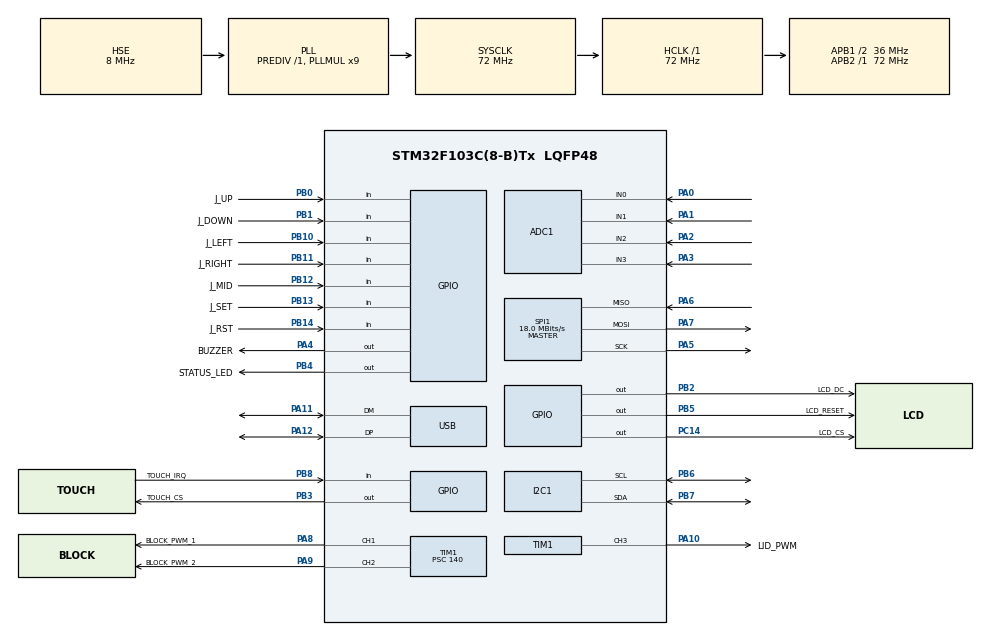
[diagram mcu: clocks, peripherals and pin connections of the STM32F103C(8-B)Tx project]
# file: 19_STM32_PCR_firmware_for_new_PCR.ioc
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Mcu.Family=STM32F1
PA6.Mode=Full_Duplex_Master
Dma.SPI1_TX.0.MemInc=DMA_MINC_ENABLE
Dma.SPI1_TX.0.PeriphInc=DMA_PINC_DISABLE
SPI1.VirtualType=VM_MASTER
PB10.GPIO_PuPd=GPIO_PULLDOWN
ADC1.ContinuousConvMode=ENABLE
SH.ADCx_IN2.0=ADC1_IN2,IN2
PB14.GPIO_Label=J_RST
PA11.Mode=Device
PB0.GPIO_Label=J_UP
TIM1.Pulse-PWM\ Generation1\ CH1=500
PB11.GPIO_PuPd=GPIO_PULLDOWN
PB13.GPIO_Label=J_SET
PB11.Signal=GPIO_Input
PB13.Signal=GPIO_Input
RCC.SYSCLKSource=RCC_SYSCLKSOURCE_PLLCLK
ProjectManager.StackSize=0x400
PD1-OSC_OUT.Signal=RCC_OSC_OUT
NVIC.DMA1_Channel3_IRQn=true\:0\:0\:false\:false\:true\:false\:true
PA12.Signal=USB_DP
TIM1.Prescaler=140
PB3.PinState=GPIO_PIN_SET
ADC1.Channel-3\#ChannelRegularConversion=ADC_CHANNEL_3
SPI1.Direction=SPI_DIRECTION_2LINES
PB1.GPIO_PuPd=GPIO_PULLDOWN
RCC.HCLKFreq_Value=72000000
SH.ADCx_IN3.0=ADC1_IN3,IN3
RCC.APB2TimFreq_Value=72000000
PB6.Signal=I2C1_SCL
ADC1.Channel-2\#ChannelRegularConversion=ADC_CHANNEL_2
PB6.Mode=I2C
SPI1.CalculateBaudRate=18.0 MBits/s
RCC.AHBFreq_Value=72000000
ADC1.Channel-0\#ChannelRegularConversion=ADC_CHANNEL_0
PB2.Signal=GPIO_Output
RCC.PLLMUL=RCC_PLL_MUL9
PB12.GPIO_Label=J_MID
ADC1.Rank-2\#ChannelRegularConversion=3
TIM1.Channel-PWM\ Generation1\ CH1=TIM_CHANNEL_1
PA14.Mode=Serial_Wire
PB1.GPIO_Label=J_DOWN
NVIC.TIM2_IRQn=true\:0\:0\:false\:false\:true\:true\:true
PA10.GPIO_Label=LID_PWM
PB7.Signal=I2C1_SDA
PA8.Signal=S_TIM1_CH1
SH.ADCx_IN0.0=ADC1_IN0,IN0
ADC1.SamplingTime-0\#ChannelRegularConversion=ADC_SAMPLETIME_1CYCLE_5
Dma.SPI1_TX.0.Mode=DMA_NORMAL
Mcu.Package=LQFP48
TIM2.Prescaler=32000
PB14.GPIO_PuPd=GPIO_PULLDOWN
PB1.Signal=GPIO_Input
PA6.Signal=SPI1_MISO
TIM1.Pulse-PWM\ Generation2\ CH2=500
PA10.Signal=S_TIM1_CH3
SH.ADCx_IN1.0=ADC1_IN1,IN1
PB5.GPIO_Label=LCD_RESET
RCC.APB1TimFreq_Value=72000000
PC14-OSC32_IN.GPIO_Label=LCD_CS
TIM1.Period=1000
Dma.Request0=SPI1_TX
SPI1.BaudRatePrescaler=SPI_BAUDRATEPRESCALER_4
PB4.PinState=GPIO_PIN_SET
PA4.GPIO_Label=BUZZER
PB4.Signal=GPIO_Output
PA3.Signal=ADCx_IN3
PA5.Mode=Full_Duplex_Master
PB3.GPIO_Label=TOUCH_CS
RCC.PLLSourceVirtual=RCC_PLLSOURCE_HSE
ADC1.Rank-0\#ChannelRegularConversion=1
PA7.Mode=Full_Duplex_Master
PD1-OSC_OUT.Mode=HSE-External-Oscillator
PA9.GPIO_Label=BLOCK_PWM_2
PB11.GPIO_Label=J_RIGHT
RCC.USBPrescaler=RCC_USBCLKSOURCE_PLL_DIV1_5
PD0-OSC_IN.Signal=RCC_OSC_IN
RCC.APB1CLKDivider=RCC_HCLK_DIV2
PC14-OSC32_IN.Signal=GPIO_Output
ADC1.SamplingTime-2\#ChannelRegularConversion=ADC_SAMPLETIME_1CYCLE_5
PA0-WKUP.Signal=ADCx_IN0
RCC.ADCPresc=RCC_ADCPCLK2_DIV6
PA13.Signal=SYS_JTMS-SWDIO
PB8.GPIO_Label=TOUCH_IRQ
PA8.GPIO_Label=BLOCK_PWM_1
SH.S_TIM1_CH1.0=TIM1_CH1,PWM Generation1 CH1
ProjectManager.TargetToolchain=STM32CubeIDE
PB10.GPIO_Label=J_LEFT
I2C1.I2C_Mode=I2C_Fast
Dma.SPI1_TX.0.PeriphDataAlignment=DMA_PDATAALIGN_BYTE
Dma.SPI1_TX.0.Direction=DMA_MEMORY_TO_PERIPH
PA9.Signal=S_TIM1_CH2
ADC1.Channel-1\#ChannelRegularConversion=ADC_CHANNEL_1
TIM1.Channel-PWM\ Generation2\ CH2=TIM_CHANNEL_2
RCC.USBFreq_Value=48000000
PA1.Signal=ADCx_IN1
PD0-OSC_IN.Mode=HSE-External-Oscillator
PB10.Signal=GPIO_Input
PB14.Signal=GPIO_Input
PA5.Signal=SPI1_SCK
board=custom
PB13.GPIO_PuPd=GPIO_PULLDOWN
PB4.GPIO_Speed=GPIO_SPEED_FREQ_LOW
RCC.APB2Freq_Value=72000000
PB4.GPIO_Label=STATUS_LED
SH.S_TIM1_CH2.0=TIM1_CH2,PWM Generation2 CH2
VP_TIM2_VS_ClockSourceINT.Mode=Internal
SPI1.Mode=SPI_MODE_MASTER
Dma.SPI1_TX.0.Instance=DMA1_Channel3
TIM2.Period=2250
ADC1.NbrOfConversion=4
PA13.Mode=Serial_Wire
Mcu.Name=STM32F103C(8-B)Tx
PA2.Signal=ADCx_IN2
PB3.Signal=GPIO_Output
PA4.Signal=GPIO_Output
ADC1.SamplingTime-1\#ChannelRegularConversion=ADC_SAMPLETIME_1CYCLE_5
RCC.SYSCLKFreq_VALUE=72000000
PB5.Signal=GPIO_Output
ADC1.master=1
PA12.Mode=Device
ADC1.Rank-3\#ChannelRegularConversion=4
ADC1.SamplingTime-3\#ChannelRegularConversion=ADC_SAMPLETIME_1CYCLE_5
ADC1.Rank-1\#ChannelRegularConversion=2
PB7.Mode=I2C
PA11.Signal=USB_DM
PA14.Signal=SYS_JTCK-SWCLK
PB2.GPIO_Label=LCD_DC
ProjectManager.HeapSize=0x200
Dma.SPI1_TX.0.MemDataAlignment=DMA_MDATAALIGN_BYTE
Dma.SPI1_TX.0.Priority=DMA_PRIORITY_LOW
SH.S_TIM1_CH3.0=TIM1_CH3,PWM Generation3 CH3
NVIC.PriorityGroup=NVIC_PRIORITYGROUP_4
ADC1.NbrOfConversionFlag=1
PB8.Signal=GPIO_Input
TIM1.Channel-PWM\ Generation3\ CH3=TIM_CHANNEL_3
PB12.GPIO_PuPd=GPIO_PULLDOWN
RCC.APB1Freq_Value=36000000
PB0.Signal=GPIO_Input
PB12.Signal=GPIO_Input
PB0.GPIO_PuPd=GPIO_PULLDOWN
PA7.Signal=SPI1_MOSI

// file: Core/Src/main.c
/* USER CODE BEGIN Header */
/**
  ******************************************************************************
  * @file           : main.c
  * @brief          : Main program body
  ******************************************************************************
  * @attention
  *
  * <h2><center>&copy; Copyright (c) 2021 STMicroelectronics.
  * All rights reserved.</center></h2>
  *
  * This software component is licensed by ST under BSD 3-Clause license,
  * the "License"; You may not use this file except in compliance with the
  * License. You may obtain a copy of the License at:
  *                        opensource.org/licenses/BSD-3-Clause
  *
  ******************************************************************************
  */
/* USER CODE END Header */
#include "main.h"

/* USER CODE BEGIN Includes */
#pragma GCC push_options    /*It turns on certain optimization flags for GCC*/
#pragma GCC optimize ("Os")

#include "fonts.h"
#include "ssd1306.h"
#include "test.h"
#include "math.h"
#include "OLED_GUI.h"
#include "5D_joystick.h"
#include "thermister_10k.h"
#include "thermocycler.h"
#include "PID.h"
#include "thermistor.h"
#pragma GCC pop_options

#include "ILI9341_STM32_Driver.h"
#include "ILI9341_GFX.h"
/* USER CODE END Includes */

/* USER CODE BEGIN PM */
#define BLOCK_DUTY_HIGHEST        100
#define BLOCK_HIGHEST_TEMP_DIFF   20
#define BLOCK_PID_P               (float)((float)BLOCK_DUTY_HIGHEST/(float)BLOCK_HIGHEST_TEMP_DIFF)
#define ABS(x)                    ((x) > 0? (x) :-(x) )
#define BLOCK_TEMPERATURE_PIN     ADC_CHANNEL_1
#define LID_TEMPERATURE_PIN       ADC_CHANNEL_0
#define EXTRA_TEMPERATURE_PIN_1     ADC_CHANNEL_2
#define EXTRA_TEMPERATURE_PIN_2    ADC_CHANNEL_3

/* Controller parameters */
/*
#define PID_KP  0.0f
#define PID_KI  0.0f      //0.5f
#define PID_KD  0.0f      //0.25f
*/

#define LID_PID_KP       		40.0f
#define LID_PID_KI       		1.3333f      //0.5f
#define LID_PID_KD       		300.0f       //0.25f
#define LID_PID_TAU      		0.02f	     //36
#define LID_PID_LIM_MIN  		0.0f
#define LID_PID_LIM_MAX  		100.0f
#define LID_PID_LIM_MIN_INT  	0.0f
#define LID_PID_LIM_MAX_INT  	500.0f
#define LID_SAMPLE_TIME_S 		0.1f
#define LID_PID_BETA 		        0.0f

#define LID_PWM_MAX  		999.0f

#define PELTIER_PID_KP   		  5.0f //40
#define PELTIER_PID_KI   		  0.0f      //0.5f
#define PELTIER_PID_KD   		  0.0f      //0.25f
#define PELTIER_PID_TAU 		  15.0f
#define PELTIER_PID_LIM_MAX  	  999
#define PELTIER_PID_LIM_MIN  	  (-999)
#define PELTIER_PID_LIM_MIN_INT   (-450)
#define PELTIER_PID_LIM_MAX_INT   (450)
#define PELTIER_SAMPLE_TIME_S 	  0.1f
#define PELTIER_PID_BETA 	       0.0f
#define PELTIER_NO_OF_SAMPLES_AVG  5

/*
 *
#define PCR1

#ifdef PCR1

Defines for PCR 1

#endif /* PCR1*/

/*
#ifdef PCR2

Defines for PCR 2

#endif /* PCR2*/

//PCR1
#define BLOCK_THERMISTOR_R0			(float)10261//11194//10698//9750
#define BLOCK_THERMISTOR_RS			(float)998//990
#define BLOCK_THERMISTOR_ADC        &hadc1
#define BLOCK_THERMISTOR_CHANNEL    ADC_CHANNEL_1
#define BLOCK_THERMISTOR_BETA       (float)4047//3609//3495//3182

#define EXTRA_1_THERMISTOR_R0		  (float)5097
#define EXTRA_1_THERMISTOR_RS		  (float)975.0
#define EXTRA_1_THERMISTOR_ADC        &hadc1
#define EXTRA_1_THERMISTOR_CHANNEL    ADC_CHANNEL_2
#define EXTRA_1_THERMISTOR_BETA       (float)3838

#define EXTRA_2_THERMISTOR_R0		  (float)5097
#define EXTRA_2_THERMISTOR_RS		  (float)977.0
#define EXTRA_2_THERMISTOR_ADC        &hadc1
#define EXTRA_2_THERMISTOR_CHANNEL    ADC_CHANNEL_3
#define EXTRA_2_THERMISTOR_BETA       (float)3838

/* USER CODE END PM */

ADC_HandleTypeDef hadc1;

I2C_HandleTypeDef hi2c1;

SPI_HandleTypeDef hspi1;
DMA_HandleTypeDef hdma_spi1_tx;

TIM_HandleTypeDef htim1;
TIM_HandleTypeDef htim2;

PCD_HandleTypeDef hpcd_USB_FS;

/* USER CODE BEGIN PV */

char num_string[10];
float block_cur_temp,IIR_block_cur_temp,block_cur_error,block_pre_out;
float block_set_temp = 35;
int block_PWM ;
volatile uint8_t OLED_lock = 0;
uint8_t joystick_out;
PCR_settings_t* PCR_settings;
float set_point;
parameter* annealing_temp;
float lid_cur_temp,Lid_setpoint = 100;
int lid_pwm_count;

float dummy_p,dummy_I,dummy_D,Peltier_PWM_beta;
float PELTIER_PID_WINDOW = 2.0f;
float PELTIER_PID_SMALL_WINDOW = 2.0f;
float PELTIER_TEMP_IIR_ALFA  =    0.9;
float extra_temperature_2      = 0;
float extra_temperature_1      = 0;
uint8_t peltier_PID_state = 0;
int16_t x_pos;
int16_t y_pos;
volatile uint8_t update_live = 0;

int current_PWM = 0;

/* USER CODE END PV */

void SystemClock_Config(void);
static void MX_GPIO_Init(void);
static void MX_DMA_Init(void);
static void MX_TIM1_Init(void);
static void MX_ADC1_Init(void);
static void MX_I2C1_Init(void);
static void MX_TIM2_Init(void);
static void MX_SPI1_Init(void);
static void MX_USB_PCD_Init(void);
/* USER CODE BEGIN PFP */

//float get_heat_block_temperature_LM35_A0(void);
//float get_heat_block_temperature_10k_thermistor_A1(void);
void Display_temperature(float num);
/* USER CODE END PFP */

int main(void)
{

  /* MCU Configuration--------------------------------------------------------*/

  /* Reset of all peripherals, Initializes the Flash interface and the Systick. */
  HAL_Init();

  /* Configure the system clock */
  SystemClock_Config();

  /* Initialize all configured peripherals */
  MX_GPIO_Init();
  MX_DMA_Init();
  MX_TIM1_Init();
  MX_ADC1_Init();
  MX_I2C1_Init();
  MX_TIM2_Init();
  MX_SPI1_Init();
  MX_USB_PCD_Init();
  /* USER CODE BEGIN 2 */

  ILI9341_Init();
  ILI9341_FillScreen(BLACK);
  ILI9341_SetRotation(SCREEN_HORIZONTAL_2);
  //ILI9341_DrawText("HELLO WORLD", FONT4, 0, 200, YELLOW, BLACK);
  //ILI9341_DrawPixel(160,120,RED);

  float temp =0.5;
  float pre_block_cur_temp;

  HAL_Delay(100);
  //SSD1306_Init();  // initialise

  TIM1->CCR1 = 0;
  TIM1->CCR2 = 0;

  Device_start_buzzer();
  display_big_message("WELPCR", "----tagline----",big_font,2);
  //OLED_PCR_config_GUI_init();

  /*SSD1306_GotoXY (0,0);
  SSD1306_Puts ("WELPCR", &Font_11x18, 1);
  SSD1306_UpdateScreen(); //display*/
  //HAL_Delay(1000);
  //SSD1306_Clear();
  get_PCR_settings(&PCR_settings);
  annealing_temp = (*PCR_settings).annealing_temp;

  block_cur_temp = get_thermister_temp(&hadc1, BLOCK_TEMPERATURE_PIN);

  //start_thermocycler();

  PIDController LID_pid = { LID_PID_KP, LID_PID_KI, LID_PID_KD,
	                    LID_PID_TAU,
	                    LID_PID_LIM_MIN, LID_PID_LIM_MAX,
	                    LID_PID_LIM_MIN_INT,
	                    LID_PID_LIM_MAX_INT,
	                    LID_SAMPLE_TIME_S,
						LID_PID_BETA
  	  	  	  	  	  };

   PIDController_Init(&LID_pid);

   PIDController peltier_pid = { PELTIER_PID_KP, PELTIER_PID_KI, PELTIER_PID_KD,
		   	   	   	    PELTIER_PID_TAU,
						PELTIER_PID_LIM_MIN, PELTIER_PID_LIM_MAX,
						PELTIER_PID_LIM_MIN_INT,
						PELTIER_PID_LIM_MAX_INT,
						PELTIER_SAMPLE_TIME_S,
						PELTIER_PID_BETA
   	  	  	  	  	  };

    PIDController_Init(&peltier_pid);

    thermistor_t block_thermistor ={
       					BLOCK_THERMISTOR_R0,
   						BLOCK_THERMISTOR_RS,
   						BLOCK_THERMISTOR_BETA,
   						BLOCK_THERMISTOR_ADC,
   						BLOCK_THERMISTOR_CHANNEL
       					};

    thermistor_t EXTRA_thermistor_1 ={
       						EXTRA_1_THERMISTOR_R0,
   							EXTRA_1_THERMISTOR_RS,
   							EXTRA_1_THERMISTOR_BETA,
   							EXTRA_1_THERMISTOR_ADC,
   							EXTRA_1_THERMISTOR_CHANNEL
           					};

     thermistor_t EXTRA_thermistor_2 ={
       		                EXTRA_2_THERMISTOR_R0,
   							EXTRA_2_THERMISTOR_RS,
   							EXTRA_2_THERMISTOR_BETA,
   							EXTRA_2_THERMISTOR_ADC,
   							EXTRA_2_THERMISTOR_CHANNEL
           					};

     thermistor_t LID_thermistor ={
               					BLOCK_THERMISTOR_R0,
           						BLOCK_THERMISTOR_RS,
           						BLOCK_THERMISTOR_BETA,
           						BLOCK_THERMISTOR_ADC,
   								LID_TEMPERATURE_PIN
               					};

   TIM1->CCR3 =lid_pwm_count;

   HAL_TIM_PWM_Start(&htim1, TIM_CHANNEL_3);

  HAL_TIM_Base_Start_IT(&htim2);

  /* USER CODE END 2 */

  /* Infinite loop */
  while (1)
  {

    /* USER CODE BEGIN 3 */

	  /*-------------Extra temperature------------*/

	  get_thermistor_temp_(&EXTRA_thermistor_1);
	   extra_temperature_1 =EXTRA_thermistor_1.temperature;
	  get_thermistor_temp_(&EXTRA_thermistor_2);
	  extra_temperature_2 =EXTRA_thermistor_2.temperature;

	//----------------------------------------------------------

	  update_GUI();

	  check_touch();

	  /*---calulate temperature and add IIR filter*/
	  //pre_block_cur_temp = block_cur_temp;
	  float avg_block_cur_temp_1 = 10;
	  float avg_block_cur_temp_2 = 0;
	  float small_window_kp;
	  while (ABS(avg_block_cur_temp_1 - avg_block_cur_temp_2) > 0.5)
	  {
		  avg_block_cur_temp_1 = 0;
		  avg_block_cur_temp_2 = 0;
		  for (int i=0; i< PELTIER_NO_OF_SAMPLES_AVG; i++)
		  	  {
			  	  	  get_thermistor_temp_(&block_thermistor);
			  		  avg_block_cur_temp_1 +=  block_thermistor.temperature/ PELTIER_NO_OF_SAMPLES_AVG;
		  	  }
		  for (int i=0; i< PELTIER_NO_OF_SAMPLES_AVG; i++)
		  	  {
			  	  	  get_thermistor_temp_(&block_thermistor);
			  		  avg_block_cur_temp_2 += block_thermistor.temperature/ PELTIER_NO_OF_SAMPLES_AVG;
		  	  }

	  }

	/*  if(ABS(pre_block_cur_temp- avg_block_cur_temp) >0)
	  {

		  block_cur_temp = pre_block_cur_temp;
	  }
	  else
	  {
		  block_cur_temp =avg_block_cur_temp;
	  }
*/
	  block_cur_temp =avg_block_cur_temp_1;
	  IIR_block_cur_temp = (1- PELTIER_TEMP_IIR_ALFA)* block_cur_temp + PELTIER_TEMP_IIR_ALFA*IIR_block_cur_temp;

	  if(update_live)
	  {
		  update_live_par();
		  update_live=0;
	  }

	  /*--------------------------------------------*/

	       get_thermistor_temp_(&LID_thermistor);
	  	  lid_cur_temp   =  LID_thermistor.temperature;
	  	  block_cur_error    = block_set_temp -  IIR_block_cur_temp;

	  set_point = get_block_set_point();
	  block_set_temp = set_point;         // Comment this line to set temp manually

	  if(Lid_setpoint-lid_cur_temp < 40 && Lid_setpoint-lid_cur_temp > 35)
	  	  {
	  		  //PIDController_Update(&LID_pid, Lid_setpoint, lid_cur_temp);

		      TIM1->CCR3    = 0;
		      lid_pwm_count = 0;
	  	  }

	  else if(Lid_setpoint-lid_cur_temp > 2)
	  {
		  //PIDController_Update(&LID_pid, Lid_setpoint, lid_cur_temp);

		  TIM1->CCR3 =LID_PWM_MAX;
		  lid_pwm_count =LID_PWM_MAX;
	  }
	  else

	  {
		  TIM1->CCR3    = 0;
		  lid_pwm_count = 0;
	  }

	  /************************Peltier PID*******************************************/
/*
	  TIM1->CCR1 = block_PWM;
	  TIM1->CCR2 = block_PWM;
	  HAL_TIM_PWM_Start(&htim1, TIM_CHANNEL_2);
	  HAL_TIM_PWM_Stop(&htim1, TIM_CHANNEL_1);

*/

	  if(block_set_temp < 65)
	  {
		  Peltier_PWM_beta = 8.2 * block_set_temp - 300;//282;//276; //9.6959 * block_set_temp - 252.48;
	  	  PELTIER_PID_WINDOW = 10;
	  	  peltier_pid.Kp = 75;
	  	  peltier_pid.Ki = 0;
	  	  peltier_pid.Kd = 0;//150
	  	  PELTIER_PID_SMALL_WINDOW = 3;
	  	  small_window_kp = 50;
	  }
	  else if(block_set_temp < 85)
	  {
		  Peltier_PWM_beta = 8.4522 * block_set_temp - 292;//11.285 * block_set_temp - 366.95;// 11.285 366.95
		  PELTIER_PID_WINDOW = 10;
		  peltier_pid.Kp = 10;
		  peltier_pid.Ki = 0;
		  peltier_pid.Kd = 200;//200;
		  PELTIER_PID_SMALL_WINDOW = 0.5;
		  small_window_kp = 75;
	  }
	  else if(block_set_temp < 150)
	  {
	  	  Peltier_PWM_beta = 9.1637 * block_set_temp - 345;
	  	  PELTIER_PID_WINDOW = 3;
	  	  peltier_pid.Kp = 15;
	  	  peltier_pid.Ki = 2;//2
	  	  peltier_pid.Kd =100;// 125;//125;
	  	  PELTIER_PID_SMALL_WINDOW = 0.5;
	  	  small_window_kp = 100;//100;
	  }

	 if(ABS(block_set_temp - IIR_block_cur_temp) <  PELTIER_PID_WINDOW)
	  	  {

		 	 if (ABS(block_set_temp - IIR_block_cur_temp) <  PELTIER_PID_WINDOW)
		 	 {
		 		peltier_pid.Kp = small_window_kp;
		 	 }

		      if (peltier_PID_state != 3 )
		     		  {
		     			  HAL_TIM_PWM_Stop(&htim1, TIM_CHANNEL_2);
		     			  HAL_TIM_PWM_Stop(&htim1, TIM_CHANNEL_1);
		     			  HAL_Delay(100);
		     			 peltier_PID_state = 3;
		     		  }

		  	  peltier_pid.beta = Peltier_PWM_beta;
			  PIDController_Update(&peltier_pid, block_set_temp, IIR_block_cur_temp);
			  dummy_p = peltier_pid.proportional_;
			  dummy_I = peltier_pid.integrator;
			  dummy_D = peltier_pid.differentiator;

			  if ( (block_pre_out>0 && peltier_pid.out < 0) || (block_pre_out<0 && peltier_pid.out > 0) )
			  {
				  HAL_TIM_PWM_Stop(&htim1, TIM_CHANNEL_2);
				  HAL_TIM_PWM_Stop(&htim1, TIM_CHANNEL_1);
				  HAL_Delay(5);
			  }

		  	  //block_PWM = (int) peltier_pid.out;
			   block_PWM = 0.8*(int) peltier_pid.out + 0.2 * block_PWM;
			  if (peltier_pid.out > 0)
			  {
				  TIM1->CCR1 = ABS(peltier_pid.out);
				  TIM1->CCR2 = ABS(peltier_pid.out);
				  HAL_TIM_PWM_Start(&htim1, TIM_CHANNEL_2);
				  HAL_TIM_PWM_Stop(&htim1, TIM_CHANNEL_1);
			  }
			  else if (peltier_pid.out < 0)
			  {
				  TIM1->CCR1 = ABS(peltier_pid.out);
				  TIM1->CCR2 = ABS(peltier_pid.out);
				  HAL_TIM_PWM_Stop(&htim1, TIM_CHANNEL_2);
				  HAL_TIM_PWM_Start(&htim1, TIM_CHANNEL_1);
			  }

			  block_pre_out =peltier_pid.out;
			  current_PWM = peltier_pid.out;

	  	  }
	  else if((block_set_temp-IIR_block_cur_temp) > PELTIER_PID_WINDOW)
	  {

		  if (peltier_PID_state != 1 )
		  {
			  HAL_TIM_PWM_Stop(&htim1, TIM_CHANNEL_2);
			  HAL_TIM_PWM_Stop(&htim1, TIM_CHANNEL_1);
			  HAL_Delay(100);
			  peltier_PID_state = 1;
		  }

		  if (current_PWM < PELTIER_PID_LIM_MAX)
		  {
			  current_PWM = current_PWM+50;
			  if(current_PWM > PELTIER_PID_LIM_MAX)
			  {
				  current_PWM = PELTIER_PID_LIM_MAX;
			  }
		  }

		  TIM1->CCR1 = current_PWM;
		  TIM1->CCR2 = current_PWM;

		  if(current_PWM> 0)
		  {
			  HAL_TIM_PWM_Start(&htim1, TIM_CHANNEL_2);
			  HAL_TIM_PWM_Stop(&htim1,  TIM_CHANNEL_1);
		  }
		  else
		  {
			  HAL_TIM_PWM_Stop (&htim1,  TIM_CHANNEL_2);
			  HAL_TIM_PWM_Start(&htim1,  TIM_CHANNEL_1);

		  }
		  PIDController_Init(&peltier_pid);

		  block_PWM = current_PWM; //(int) PELTIER_PID_LIM_MAX;
		  //block_PWM = 0.5*(int) PELTIER_PID_LIM_MAX + 0.5 * block_PWM;
	  }
	  else if((block_set_temp-IIR_block_cur_temp)< (-PELTIER_PID_WINDOW))
	  	  {
		  /*if (peltier_PID_state != 2 )
		  		  {
		  			  HAL_TIM_PWM_Stop(&htim1, TIM_CHANNEL_2);
		  			  HAL_TIM_PWM_Stop(&htim1, TIM_CHANNEL_1);
		  			  HAL_Delay(100);
		  			  peltier_PID_state = 2;
		  		  }
          */
		  if (current_PWM > PELTIER_PID_LIM_MIN)
		  		  {
		  			  current_PWM = current_PWM-50;
		  			  if(current_PWM < PELTIER_PID_LIM_MIN)
		  			  {
		  				  current_PWM = PELTIER_PID_LIM_MIN;
		  			  }
		  		  }

	  		  TIM1->CCR1 = ABS(current_PWM);//ABS(PELTIER_PID_LIM_MIN);
	  		  TIM1->CCR2 = ABS(current_PWM);//ABS(PELTIER_PID_LIM_MIN);

	  		if(current_PWM> 0)
	  				  {
	  					  HAL_TIM_PWM_Start(&htim1, TIM_CHANNEL_2);
	  					  HAL_TIM_PWM_Stop(&htim1,  TIM_CHANNEL_1);
	  				  }
	  				  else
	  				  {
	  					  HAL_TIM_PWM_Stop (&htim1,  TIM_CHANNEL_2);
	  					  HAL_TIM_PWM_Start(&htim1,  TIM_CHANNEL_1);

	  				  }

	  		  PIDController_Init(&peltier_pid);

	  		  block_PWM = current_PWM; //(int) PELTIER_PID_LIM_MIN;
	  		//block_PWM = 0.5*(int) PELTIER_PID_LIM_MIN + 0.5 * block_PWM;
	  	  }
	  else
	  {
		  HAL_TIM_PWM_Stop(&htim1, TIM_CHANNEL_2);
		  HAL_TIM_PWM_Stop(&htim1, TIM_CHANNEL_1);

		  PIDController_Init(&peltier_pid);

		  block_PWM = 0;
		  //block_PWM =  0.5 * block_PWM;

	  }

	  HAL_Delay(100);

/*
	  HAL_TIM_PWM_Stop(&htim1, TIM_CHANNEL_1);
	  HAL_TIM_PWM_Stop(&htim1, TIM_CHANNEL_2);
	  HAL_Delay(100);*/
/*
	  HAL_TIM_PWM_Start(&htim1, TIM_CHANNEL_1);
	  HAL_TIM_PWM_Stop(&htim1, TIM_CHANNEL_2);
	  HAL_Delay(6000);*/

  }
  /* USER CODE END 3 */
}

void SystemClock_Config(void)
{
  RCC_OscInitTypeDef RCC_OscInitStruct = {0};
  RCC_ClkInitTypeDef RCC_ClkInitStruct = {0};
  RCC_PeriphCLKInitTypeDef PeriphClkInit = {0};

  /** Initializes the RCC Oscillators according to the specified parameters
  * in the RCC_OscInitTypeDef structure.
  */
  RCC_OscInitStruct.OscillatorType = RCC_OSCILLATORTYPE_HSE;
  RCC_OscInitStruct.HSEState = RCC_HSE_ON;
  RCC_OscInitStruct.HSEPredivValue = RCC_HSE_PREDIV_DIV1;
  RCC_OscInitStruct.HSIState = RCC_HSI_ON;
  RCC_OscInitStruct.PLL.PLLState = RCC_PLL_ON;
  RCC_OscInitStruct.PLL.PLLSource = RCC_PLLSOURCE_HSE;
  RCC_OscInitStruct.PLL.PLLMUL = RCC_PLL_MUL9;
  if (HAL_RCC_OscConfig(&RCC_OscInitStruct) != HAL_OK)
  {
    Error_Handler();
  }
  /** Initializes the CPU, AHB and APB buses clocks
  */
  RCC_ClkInitStruct.ClockType = RCC_CLOCKTYPE_HCLK|RCC_CLOCKTYPE_SYSCLK
                              |RCC_CLOCKTYPE_PCLK1|RCC_CLOCKTYPE_PCLK2;
  RCC_ClkInitStruct.SYSCLKSource = RCC_SYSCLKSOURCE_PLLCLK;
  RCC_ClkInitStruct.AHBCLKDivider = RCC_SYSCLK_DIV1;
  RCC_ClkInitStruct.APB1CLKDivider = RCC_HCLK_DIV2;
  RCC_ClkInitStruct.APB2CLKDivider = RCC_HCLK_DIV1;

  if (HAL_RCC_ClockConfig(&RCC_ClkInitStruct, FLASH_LATENCY_2) != HAL_OK)
  {
    Error_Handler();
  }
  PeriphClkInit.PeriphClockSelection = RCC_PERIPHCLK_ADC|RCC_PERIPHCLK_USB;
  PeriphClkInit.AdcClockSelection = RCC_ADCPCLK2_DIV6;
  PeriphClkInit.UsbClockSelection = RCC_USBCLKSOURCE_PLL_DIV1_5;
  if (HAL_RCCEx_PeriphCLKConfig(&PeriphClkInit) != HAL_OK)
  {
    Error_Handler();
  }
}

static void MX_ADC1_Init(void)
{

  ADC_ChannelConfTypeDef sConfig = {0};

  /** Common config
  */
  hadc1.Instance = ADC1;
  hadc1.Init.ScanConvMode = ADC_SCAN_ENABLE;
  hadc1.Init.ContinuousConvMode = ENABLE;
  hadc1.Init.DiscontinuousConvMode = DISABLE;
  hadc1.Init.ExternalTrigConv = ADC_SOFTWARE_START;
  hadc1.Init.DataAlign = ADC_DATAALIGN_RIGHT;
  hadc1.Init.NbrOfConversion = 1;
  if (HAL_ADC_Init(&hadc1) != HAL_OK)
  {
    Error_Handler();
  }
  /** Configure Regular Channel
  */
  sConfig.Channel = ADC_CHANNEL_0;
  sConfig.Rank = ADC_REGULAR_RANK_1;
  sConfig.SamplingTime = ADC_SAMPLETIME_1CYCLE_5;
  if (HAL_ADC_ConfigChannel(&hadc1, &sConfig) != HAL_OK)
  {
    Error_Handler();
  }
  /** Configure Regular Channel
  */
  sConfig.Channel = ADC_CHANNEL_1;
  sConfig.Rank = ADC_REGULAR_RANK_2;
  if (HAL_ADC_ConfigChannel(&hadc1, &sConfig) != HAL_OK)
  {
    Error_Handler();
  }
  /** Configure Regular Channel
  */
  sConfig.Channel = ADC_CHANNEL_2;
  sConfig.Rank = ADC_REGULAR_RANK_3;
  if (HAL_ADC_ConfigChannel(&hadc1, &sConfig) != HAL_OK)
  {
    Error_Handler();
  }
  /** Configure Regular Channel
  */
  sConfig.Channel = ADC_CHANNEL_3;
  sConfig.Rank = ADC_REGULAR_RANK_4;
  if (HAL_ADC_ConfigChannel(&hadc1, &sConfig) != HAL_OK)
  {
    Error_Handler();
  }

}

static void MX_I2C1_Init(void)
{

  hi2c1.Instance = I2C1;
  hi2c1.Init.ClockSpeed = 400000;
  hi2c1.Init.DutyCycle = I2C_DUTYCYCLE_2;
  hi2c1.Init.OwnAddress1 = 0;
  hi2c1.Init.AddressingMode = I2C_ADDRESSINGMODE_7BIT;
  hi2c1.Init.DualAddressMode = I2C_DUALADDRESS_DISABLE;
  hi2c1.Init.OwnAddress2 = 0;
  hi2c1.Init.GeneralCallMode = I2C_GENERALCALL_DISABLE;
  hi2c1.Init.NoStretchMode = I2C_NOSTRETCH_DISABLE;
  if (HAL_I2C_Init(&hi2c1) != HAL_OK)
  {
    Error_Handler();
  }

}

static void MX_SPI1_Init(void)
{

  /* SPI1 parameter configuration*/
  hspi1.Instance = SPI1;
  hspi1.Init.Mode = SPI_MODE_MASTER;
  hspi1.Init.Direction = SPI_DIRECTION_2LINES;
  hspi1.Init.DataSize = SPI_DATASIZE_8BIT;
  hspi1.Init.CLKPolarity = SPI_POLARITY_LOW;
  hspi1.Init.CLKPhase = SPI_PHASE_1EDGE;
  hspi1.Init.NSS = SPI_NSS_SOFT;
  hspi1.Init.BaudRatePrescaler = SPI_BAUDRATEPRESCALER_4;
  hspi1.Init.FirstBit = SPI_FIRSTBIT_MSB;
  hspi1.Init.TIMode = SPI_TIMODE_DISABLE;
  hspi1.Init.CRCCalculation = SPI_CRCCALCULATION_DISABLE;
  hspi1.Init.CRCPolynomial = 10;
  if (HAL_SPI_Init(&hspi1) != HAL_OK)
  {
    Error_Handler();
  }

}

static void MX_TIM1_Init(void)
{

  TIM_MasterConfigTypeDef sMasterConfig = {0};
  TIM_OC_InitTypeDef sConfigOC = {0};
  TIM_BreakDeadTimeConfigTypeDef sBreakDeadTimeConfig = {0};

  htim1.Instance = TIM1;
  htim1.Init.Prescaler = 140;
  htim1.Init.CounterMode = TIM_COUNTERMODE_UP;
  htim1.Init.Period = 1000;
  htim1.Init.ClockDivision = TIM_CLOCKDIVISION_DIV1;
  htim1.Init.RepetitionCounter = 0;
  htim1.Init.AutoReloadPreload = TIM_AUTORELOAD_PRELOAD_DISABLE;
  if (HAL_TIM_PWM_Init(&htim1) != HAL_OK)
  {
    Error_Handler();
  }
  sMasterConfig.MasterOutputTrigger = TIM_TRGO_RESET;
  sMasterConfig.MasterSlaveMode = TIM_MASTERSLAVEMODE_DISABLE;
  if (HAL_TIMEx_MasterConfigSynchronization(&htim1, &sMasterConfig) != HAL_OK)
  {
    Error_Handler();
  }
  sConfigOC.OCMode = TIM_OCMODE_PWM1;
  sConfigOC.Pulse = 500;
  sConfigOC.OCPolarity = TIM_OCPOLARITY_HIGH;
  sConfigOC.OCNPolarity = TIM_OCNPOLARITY_HIGH;
  sConfigOC.OCFastMode = TIM_OCFAST_DISABLE;
  sConfigOC.OCIdleState = TIM_OCIDLESTATE_RESET;
  sConfigOC.OCNIdleState = TIM_OCNIDLESTATE_RESET;
  if (HAL_TIM_PWM_ConfigChannel(&htim1, &sConfigOC, TIM_CHANNEL_1) != HAL_OK)
  {
    Error_Handler();
  }
  if (HAL_TIM_PWM_ConfigChannel(&htim1, &sConfigOC, TIM_CHANNEL_2) != HAL_OK)
  {
    Error_Handler();
  }
  sConfigOC.Pulse = 0;
  if (HAL_TIM_PWM_ConfigChannel(&htim1, &sConfigOC, TIM_CHANNEL_3) != HAL_OK)
  {
    Error_Handler();
  }
  sBreakDeadTimeConfig.OffStateRunMode = TIM_OSSR_DISABLE;
  sBreakDeadTimeConfig.OffStateIDLEMode = TIM_OSSI_DISABLE;
  sBreakDeadTimeConfig.LockLevel = TIM_LOCKLEVEL_OFF;
  sBreakDeadTimeConfig.DeadTime = 0;
  sBreakDeadTimeConfig.BreakState = TIM_BREAK_DISABLE;
  sBreakDeadTimeConfig.BreakPolarity = TIM_BREAKPOLARITY_HIGH;
  sBreakDeadTimeConfig.AutomaticOutput = TIM_AUTOMATICOUTPUT_DISABLE;
  if (HAL_TIMEx_ConfigBreakDeadTime(&htim1, &sBreakDeadTimeConfig) != HAL_OK)
  {
    Error_Handler();
  }
  HAL_TIM_MspPostInit(&htim1);

}

static void MX_TIM2_Init(void)
{

  TIM_ClockConfigTypeDef sClockSourceConfig = {0};
  TIM_MasterConfigTypeDef sMasterConfig = {0};

  htim2.Instance = TIM2;
  htim2.Init.Prescaler = 32000;
  htim2.Init.CounterMode = TIM_COUNTERMODE_UP;
  htim2.Init.Period = 2250;
  htim2.Init.ClockDivision = TIM_CLOCKDIVISION_DIV1;
  htim2.Init.AutoReloadPreload = TIM_AUTORELOAD_PRELOAD_DISABLE;
  if (HAL_TIM_Base_Init(&htim2) != HAL_OK)
  {
    Error_Handler();
  }
  sClockSourceConfig.ClockSource = TIM_CLOCKSOURCE_INTERNAL;
  if (HAL_TIM_ConfigClockSource(&htim2, &sClockSourceConfig) != HAL_OK)
  {
    Error_Handler();
  }
  sMasterConfig.MasterOutputTrigger = TIM_TRGO_RESET;
  sMasterConfig.MasterSlaveMode = TIM_MASTERSLAVEMODE_DISABLE;
  if (HAL_TIMEx_MasterConfigSynchronization(&htim2, &sMasterConfig) != HAL_OK)
  {
    Error_Handler();
  }

}

static void MX_USB_PCD_Init(void)
{

  hpcd_USB_FS.Instance = USB;
  hpcd_USB_FS.Init.dev_endpoints = 8;
  hpcd_USB_FS.Init.speed = PCD_SPEED_FULL;
  hpcd_USB_FS.Init.low_power_enable = DISABLE;
  hpcd_USB_FS.Init.lpm_enable = DISABLE;
  hpcd_USB_FS.Init.battery_charging_enable = DISABLE;
  if (HAL_PCD_Init(&hpcd_USB_FS) != HAL_OK)
  {
    Error_Handler();
  }

}

static void MX_DMA_Init(void)
{

  /* DMA controller clock enable */
  __HAL_RCC_DMA1_CLK_ENABLE();

  /* DMA interrupt init */
  /* DMA1_Channel3_IRQn interrupt configuration */
  HAL_NVIC_SetPriority(DMA1_Channel3_IRQn, 0, 0);
  HAL_NVIC_EnableIRQ(DMA1_Channel3_IRQn);

}

static void MX_GPIO_Init(void)
{
  GPIO_InitTypeDef GPIO_InitStruct = {0};

  /* GPIO Ports Clock Enable */
  __HAL_RCC_GPIOC_CLK_ENABLE();
  __HAL_RCC_GPIOD_CLK_ENABLE();
  __HAL_RCC_GPIOA_CLK_ENABLE();
  __HAL_RCC_GPIOB_CLK_ENABLE();

  /*Configure GPIO pin Output Level */
  HAL_GPIO_WritePin(LCD_CS_GPIO_Port, LCD_CS_Pin, GPIO_PIN_RESET);

  /*Configure GPIO pin Output Level */
  HAL_GPIO_WritePin(BUZZER_GPIO_Port, BUZZER_Pin, GPIO_PIN_RESET);

  /*Configure GPIO pin Output Level */
  HAL_GPIO_WritePin(GPIOB, LCD_DC_Pin|LCD_RESET_Pin, GPIO_PIN_RESET);

  /*Configure GPIO pin Output Level */
  HAL_GPIO_WritePin(GPIOB, TOUCH_CS_Pin|STATUS_LED_Pin, GPIO_PIN_SET);

  /*Configure GPIO pin : LCD_CS_Pin */
  GPIO_InitStruct.Pin = LCD_CS_Pin;
  GPIO_InitStruct.Mode = GPIO_MODE_OUTPUT_PP;
  GPIO_InitStruct.Pull = GPIO_NOPULL;
  GPIO_InitStruct.Speed = GPIO_SPEED_FREQ_LOW;
  HAL_GPIO_Init(LCD_CS_GPIO_Port, &GPIO_InitStruct);

  /*Configure GPIO pin : BUZZER_Pin */
  GPIO_InitStruct.Pin = BUZZER_Pin;
  GPIO_InitStruct.Mode = GPIO_MODE_OUTPUT_PP;
  GPIO_InitStruct.Pull = GPIO_NOPULL;
  GPIO_InitStruct.Speed = GPIO_SPEED_FREQ_LOW;
  HAL_GPIO_Init(BUZZER_GPIO_Port, &GPIO_InitStruct);

  /*Configure GPIO pins : J_UP_Pin J_DOWN_Pin J_LEFT_Pin J_RIGHT_Pin
                           J_MID_Pin J_SET_Pin J_RST_Pin */
  GPIO_InitStruct.Pin = J_UP_Pin|J_DOWN_Pin|J_LEFT_Pin|J_RIGHT_Pin
                          |J_MID_Pin|J_SET_Pin|J_RST_Pin;
  GPIO_InitStruct.Mode = GPIO_MODE_INPUT;
  GPIO_InitStruct.Pull = GPIO_PULLDOWN;
  HAL_GPIO_Init(GPIOB, &GPIO_InitStruct);

  /*Configure GPIO pins : LCD_DC_Pin TOUCH_CS_Pin STATUS_LED_Pin LCD_RESET_Pin */
  GPIO_InitStruct.Pin = LCD_DC_Pin|TOUCH_CS_Pin|STATUS_LED_Pin|LCD_RESET_Pin;
  GPIO_InitStruct.Mode = GPIO_MODE_OUTPUT_PP;
  GPIO_InitStruct.Pull = GPIO_NOPULL;
  GPIO_InitStruct.Speed = GPIO_SPEED_FREQ_LOW;
  HAL_GPIO_Init(GPIOB, &GPIO_InitStruct);

  /*Configure GPIO pin : TOUCH_IRQ_Pin */
  GPIO_InitStruct.Pin = TOUCH_IRQ_Pin;
  GPIO_InitStruct.Mode = GPIO_MODE_INPUT;
  GPIO_InitStruct.Pull = GPIO_NOPULL;
  HAL_GPIO_Init(TOUCH_IRQ_GPIO_Port, &GPIO_InitStruct);

}

/* USER CODE BEGIN 4 */

void HAL_TIM_PeriodElapsedCallback(TIM_HandleTypeDef *htim)
{

	update_live = 1;

}

void update_live_par(void)
{
	char num_string2[10];
	static float block_previous_temp  = 25;
	float ramp_rate;

	ramp_rate = (IIR_block_cur_temp - block_previous_temp)/1;
	//sprintf(num_string2,"Rate: %0.1f",ramp_rate);
	update_parameter_value(RAMP_RATE,  ramp_rate);
	update_parameter_value(BLOCK_TEAMPERATURE,  IIR_block_cur_temp);
	update_parameter_value(SET_POINT,  set_point);
	update_parameter_value(LID_TEMP,  lid_cur_temp);
	update_parameter_value(TEMP_1,  extra_temperature_1);
	update_parameter_value(TEMP_2,  extra_temperature_2);
	update_parameter_value(TIME_REMAINING,  0);

	ILI9341_DrawLine(250, 0, 245, 15, WHITE);//slash between cycles
	block_previous_temp = IIR_block_cur_temp;

	HAL_GPIO_TogglePin(STATUS_LED_GPIO_Port, STATUS_LED_Pin);
}

void Display_temperature(float num)
{
	//sprintf(num_string,"Temp:%0.1f",num);

	//SSD1306_Clear();
	//HAL_TIM_Base_Stop_IT(&htim2);
	update_parameter_value(BLOCK_TEAMPERATURE,  num);
	if(OLED_lock == 0)
		{

		/*OLED_lock =1;
			SSD1306_GotoXY (0,0);
			SSD1306_Puts (num_string, &Font_11x18, 1);
			SSD1306_UpdateScreen(); //display

			OLED_lock =0;*/
		}

	//HAL_TIM_Base_Start_IT(&htim2);
}

void oled_print_int(int num)
{
	sprintf(num_string,"%d",num);

		SSD1306_Clear();
		SSD1306_GotoXY (0,0);
		SSD1306_Puts (num_string, &Font_16x26, 1);
		SSD1306_UpdateScreen(); //display
}

void check_touch(void)
{
	if (!HAL_GPIO_ReadPin(touch_IRQ_port,touch_IRQ_pin ))
	{
		ili9341_touch_coordinate(&x_pos, &y_pos);
	}
	else
	{
		x_pos = -1;
		y_pos = -1;
	}
		//HAL_NVIC_EnableIRQ(EXTI9_5_IRQn);
	//HAL_Delay(1000);
}

void test_start_buzzer(void)
{
	HAL_GPIO_WritePin(BUZZER_GPIO_Port,BUZZER_Pin, GPIO_PIN_SET);
	HAL_Delay(200);
	HAL_GPIO_WritePin(BUZZER_GPIO_Port,BUZZER_Pin, GPIO_PIN_RESET);
	HAL_Delay(200);
	HAL_GPIO_WritePin(BUZZER_GPIO_Port,BUZZER_Pin, GPIO_PIN_SET);
	HAL_Delay(200);
	HAL_GPIO_WritePin(BUZZER_GPIO_Port,BUZZER_Pin, GPIO_PIN_RESET);
	HAL_Delay(200);

}

void Device_start_buzzer(void)
{
	for(int i = 0; i<3;i++ )
	{
		HAL_GPIO_WritePin(BUZZER_GPIO_Port,BUZZER_Pin, GPIO_PIN_SET);
		HAL_Delay(50);
		HAL_GPIO_WritePin(BUZZER_GPIO_Port,BUZZER_Pin, GPIO_PIN_RESET);
		HAL_Delay(50);
	}

	for(int i = 0; i<3;i++ )
		{
			HAL_GPIO_WritePin(BUZZER_GPIO_Port,BUZZER_Pin, GPIO_PIN_SET);
			HAL_Delay(100);
			HAL_GPIO_WritePin(BUZZER_GPIO_Port,BUZZER_Pin, GPIO_PIN_RESET);
			HAL_Delay(100);
		}
	for(int i = 0; i<2;i++ )
			{
				HAL_GPIO_WritePin(BUZZER_GPIO_Port,BUZZER_Pin, GPIO_PIN_SET);
				HAL_Delay(200);
				HAL_GPIO_WritePin(BUZZER_GPIO_Port,BUZZER_Pin, GPIO_PIN_RESET);
				HAL_Delay(200);
			}

}
/* USER CODE END 4 */

void Error_Handler(void)
{
  __disable_irq();
  while (1)
  {
  }
}

/************************ (C) COPYRIGHT STMicroelectronics *****END OF FILE****/
